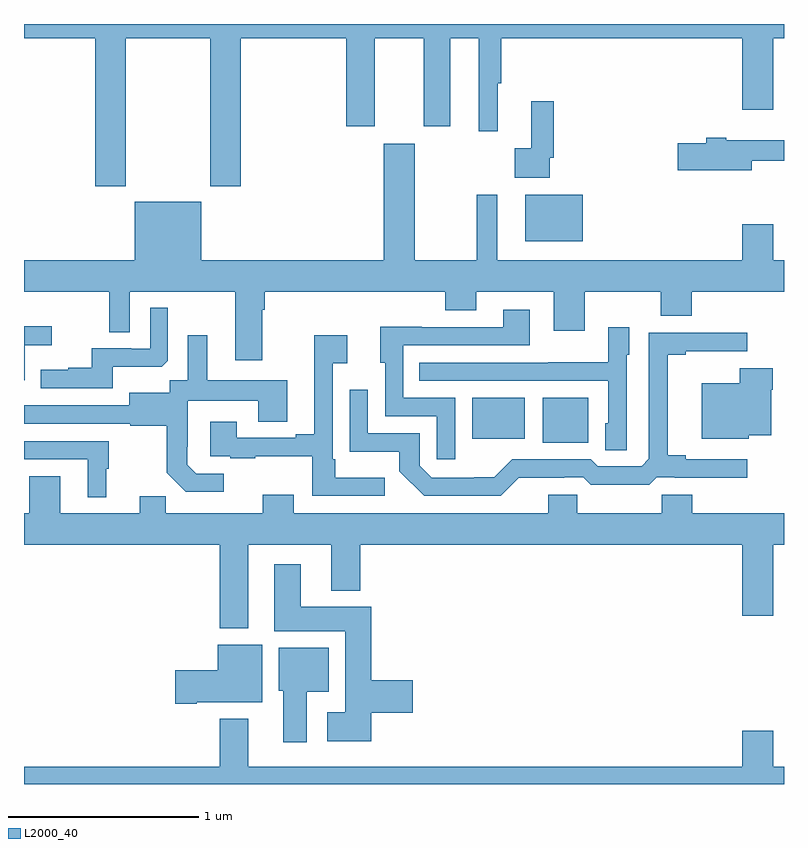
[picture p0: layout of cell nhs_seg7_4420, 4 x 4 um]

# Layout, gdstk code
import gdstk
lib = gdstk.Library(unit=1e-6, precision=1e-09)
def R(c, l, rs):  # rectangles x0, y0, x1, y1
    for r in rs: c.add(gdstk.rectangle(r[:2], r[2:], *l))
def P(c, l, *ps):  # polygons
    for p in ps: c.add(gdstk.Polygon(p, *l))
L2000_40 = (2000, 40)

nhs_seg7_4420 = lib.new_cell('nhs_seg7_4420')
R(nhs_seg7_4420, L2000_40, [(391.73,1023.797,391.969,1024.033), (391.358,1023.818,391.636,1024.033), (391.637,1024.856,391.942,1025.101)])
P(nhs_seg7_4420, L2000_40, [(389.535,1025.924),(389.98,1025.924),(389.98,1025.145),(390.14,1025.145),(390.14,1025.924),(390.695,1025.924),(390.695,1025.463),(390.847,1025.463),(390.847,1025.924),(391.103,1025.924),(391.103,1025.463),(391.243,1025.463),(391.243,1025.924),(391.394,1025.924),(391.394,1025.436),(391.493,1025.436),(391.493,1025.688),(391.511,1025.688),(391.511,1025.924),(392.78,1025.924),(392.78,1025.55),(392.944,1025.55),(392.944,1025.924),(393,1025.924),(393,1026),(389,1026),(389,1025.924),(389.375,1025.924),(389.375,1025.145),(389.535,1025.145)],
  [(391.767,1025.296),(391.787,1025.296),(391.787,1025.593),(391.67,1025.593),(391.67,1025.345),(391.584,1025.345),(391.584,1025.192),(391.767,1025.192)],
  [(392.83,1025.28),(393,1025.28),(393,1025.389),(392.695,1025.389),(392.695,1025.402),(392.591,1025.402),(392.591,1025.372),(392.442,1025.372),(392.442,1025.23),(392.83,1025.23)],
  [(389,1024.592),(389.448,1024.592),(389.448,1024.378),(389.556,1024.378),(389.556,1024.592),(390.113,1024.592),(390.113,1024.23),(390.253,1024.23),(390.253,1024.496),(390.266,1024.496),(390.266,1024.592),(391.217,1024.592),(391.217,1024.493),(391.381,1024.493),(391.381,1024.592),(391.787,1024.592),(391.787,1024.386),(391.951,1024.386),(391.951,1024.592),(392.351,1024.592),(392.351,1024.464),(392.515,1024.464),(392.515,1024.592),(393,1024.592),(393,1024.756),(392.944,1024.756),(392.944,1024.945),(392.78,1024.945),(392.78,1024.756),(391.492,1024.756),(391.492,1025.101),(391.383,1025.101),(391.383,1024.756),(391.057,1024.756),(391.057,1025.371),(390.893,1025.371),(390.893,1024.756),(389.932,1024.756),(389.932,1025.065),(389.582,1025.065),(389.582,1024.756),(389,1024.756)],
  [(389.467,1024.196),(389.725,1024.196),(389.757,1024.227),(389.757,1024.507),(389.664,1024.507),(389.664,1024.29),(389.564,1024.29),(389.564,1024.293),(389.357,1024.293),(389.357,1024.192),(389.233,1024.192),(389.233,1024.18),(389.089,1024.18),(389.089,1024.083),(389.467,1024.083)],
  [(391.269,1024.032),(390.996,1024.032),(390.996,1024.308),(391.663,1024.308),(391.663,1024.495),(391.523,1024.495),(391.523,1024.404),(391.093,1024.404),(391.093,1024.406),(390.875,1024.406),(390.875,1024.218),(390.9,1024.218),(390.9,1023.936),(391.173,1023.936),(391.173,1023.708),(391.269,1023.708)],
  [(389.004,1024.31),(389.146,1024.31),(389.146,1024.409),(389,1024.409),(389,1024.125),(389.004,1024.125)],
  [(392.172,1024.26),(392.185,1024.26),(392.185,1024.405),(392.076,1024.405),(392.076,1024.219),(391.759,1024.219),(391.759,1024.218),(391.081,1024.218),(391.081,1024.122),(392.076,1024.122),(392.076,1023.9),(392.06,1023.9),(392.06,1023.757),(392.172,1023.757)],
  [(391.604,1023.611),(391.844,1023.611),(391.844,1023.615),(391.944,1023.615),(391.984,1023.576),(392.291,1023.576),(392.331,1023.615),(392.425,1023.615),(392.425,1023.611),(392.806,1023.611),(392.806,1023.708),(392.482,1023.708),(392.482,1023.731),(392.387,1023.731),(392.387,1024.258),(392.482,1024.258),(392.482,1024.277),(392.806,1024.277),(392.806,1024.374),(392.289,1024.374),(392.289,1023.711),(392.25,1023.672),(392.019,1023.672),(391.983,1023.708),(391.569,1023.708),(391.475,1023.614),(391.37,1023.614),(391.37,1023.612),(391.146,1023.612),(391.083,1023.675),(391.083,1023.846),(390.81,1023.846),(390.81,1024.075),(390.714,1024.075),(390.714,1023.749),(390.976,1023.749),(390.976,1023.647),(391.106,1023.516),(391.509,1023.516)],
  [(390.898,1023.613),(390.637,1023.613),(390.637,1023.709),(390.624,1023.709),(390.624,1024.214),(390.7,1024.214),(390.7,1024.363),(390.527,1024.363),(390.527,1023.841),(390.431,1023.841),(390.431,1023.822),(390.121,1023.822),(390.121,1023.907),(389.981,1023.907),(389.981,1023.726),(390.085,1023.726),(390.085,1023.714),(390.217,1023.714),(390.217,1023.725),(390.516,1023.725),(390.516,1023.516),(390.898,1023.516)],
  [(390.052,1023.633),(389.907,1023.633),(389.86,1023.68),(389.86,1023.775),(389.862,1023.775),(389.862,1024.016),(390.233,1024.016),(390.233,1023.907),(390.385,1023.907),(390.385,1024.126),(389.965,1024.126),(389.965,1024.363),(389.861,1024.363),(389.861,1024.124),(389.766,1024.124),(389.766,1024.06),(389.555,1024.06),(389.555,1023.993),(389,1023.993),(389,1023.897),(389.559,1023.897),(389.559,1023.885),(389.751,1023.885),(389.751,1023.639),(389.851,1023.539),(390.052,1023.539)],
  [(392.814,1023.836),(392.932,1023.836),(392.932,1024.076),(392.94,1024.076),(392.94,1024.189),(392.767,1024.189),(392.767,1024.108),(392.567,1024.108),(392.567,1023.818),(392.814,1023.818)],
  [(389.434,1023.66),(389.446,1023.66),(389.446,1023.804),(389,1023.804),(389,1023.708),(389.336,1023.708),(389.336,1023.509),(389.434,1023.509)],
  [(390.421,1023.523),(390.257,1023.523),(390.257,1023.424),(389.747,1023.424),(389.747,1023.515),(389.609,1023.515),(389.609,1023.424),(389.191,1023.424),(389.191,1023.619),(389.027,1023.619),(389.027,1023.424),(389,1023.424),(389,1023.26),(390.029,1023.26),(390.029,1022.819),(390.181,1022.819),(390.181,1023.26),(390.617,1023.26),(390.617,1023.017),(390.77,1023.017),(390.77,1023.26),(392.78,1023.26),(392.78,1022.886),(392.944,1022.886),(392.944,1023.26),(393,1023.26),(393,1023.424),(392.516,1023.424),(392.516,1023.522),(392.356,1023.522),(392.356,1023.424),(391.911,1023.424),(391.911,1023.522),(391.76,1023.522),(391.76,1023.424),(390.421,1023.424)],
  [(390.827,1022.375),(391.045,1022.375),(391.045,1022.546),(390.827,1022.546),(390.827,1022.932),(390.457,1022.932),(390.457,1023.157),(390.317,1023.157),(390.317,1022.804),(390.692,1022.804),(390.692,1022.377),(390.597,1022.377),(390.597,1022.225),(390.827,1022.225)],
  [(389.908,1022.429),(390.253,1022.429),(390.253,1022.734),(390.02,1022.734),(390.02,1022.6),(389.796,1022.6),(389.796,1022.422),(389.908,1022.422)],
  [(390.487,1022.486),(390.604,1022.486),(390.604,1022.716),(390.341,1022.716),(390.341,1022.49),(390.365,1022.49),(390.365,1022.22),(390.487,1022.22)],
  [(393,1022.092),(392.944,1022.092),(392.944,1022.281),(392.78,1022.281),(392.78,1022.092),(390.181,1022.092),(390.181,1022.344),(390.029,1022.344),(390.029,1022.092),(389,1022.092),(389,1022),(393,1022)])

lib.write_gds('nhs_seg7_4420.gds')
